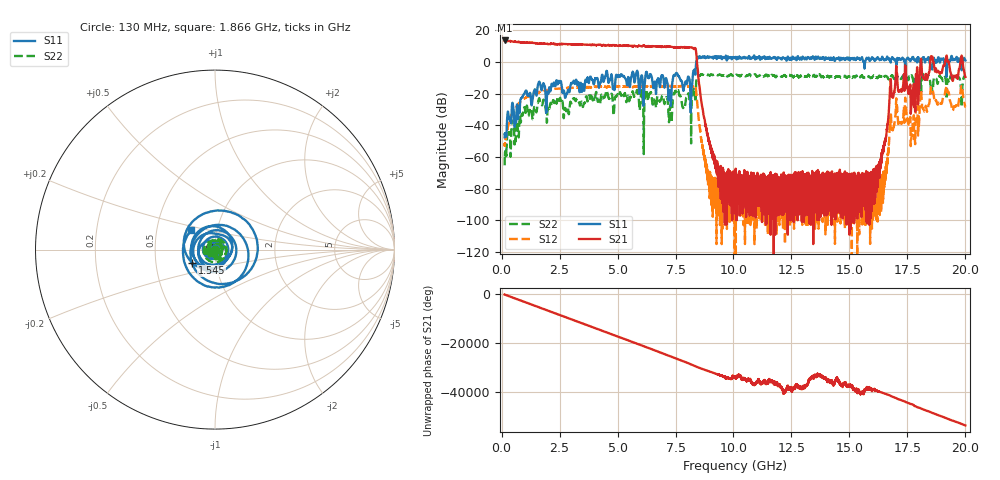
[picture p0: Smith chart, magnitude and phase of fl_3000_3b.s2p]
!Created with skrf (http://scikit-rf.org).
# GHz S RI R 50.0
!freq ReS11 ImS11 ReS21 ImS21 ReS12 ImS12 ReS22 ImS22
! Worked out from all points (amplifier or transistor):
!   20013 points, 130 MHz to 20 GHz, reference 50 ohm
!   highest |S21| = 13.6 dB at 134 MHz (marker M1)
!   |S21| within 3 dB of that: start of sweep to 4.079 GHz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
!   unconditionally stable (mu >= 1): start of sweep to 4.535 GHz; 4.542 GHz to 8.375 GHz; 18.46 GHz to 18.59 GHz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
!   at 3.465 GHz: K = 1.14, MAG = 11.2 dB, |S12| = -15.8 dB
!   at 10.14 GHz: K = -44270282.45, MSG = 9.5 dB, |S12| = -92.7 dB
!   at 20 GHz: K = -8.32, MSG = 9.5 dB, |S12| = -28.4 dB
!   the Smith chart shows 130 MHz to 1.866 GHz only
!   S11 on the Smith chart (normalised r, x): 130 MHz: 1.00, +0.01; 1.545 GHz: 0.77, -0.12; 1.866 GHz: 0.75, +0.17
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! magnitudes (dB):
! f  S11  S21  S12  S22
! 130 MHz  -47.5  13.6  -53.4  -65.3
! 134 MHz  -46.3  13.6  -52.8  -61.7
! 611 MHz  -37.7  12.8  -28.7  -47.6
! 1.545 GHz  -16.7  11.6  -19.3  -27.2
! 1.866 GHz  -15.4  11.6  -18.1  -27.0
! 3.442 GHz  -16.1  11.1  -15.9  -25.0
! 6.754 GHz  -10.2  9.7  -15.2  -22.8
! 7.273 GHz  -20.5  9.7  -15.2  -27.4
! 7.509 GHz  -7.5  9.2  -15.6  -18.4
! 8.304 GHz  -4.9  8.4  -16.1  -16.2
! 9.002 GHz  3.0  -53.3  -72.1  -8.4
! 9.556 GHz  3.1  -69.4  -76.6  -8.6
! 10.06 GHz  2.4  -77.5  -84.9  -8.8
! 13.38 GHz  2.2  -81.4  -92.9  -8.9
! 16 GHz  2.6  -72.1  -99.9  -9.4
! 16.45 GHz  2.0  -56.4  -80.9  -10.4
! 16.69 GHz  1.8  -33.2  -53.6  -10.8
! 17 GHz  1.4  -9.7  -30.8  -10.1
! 17.42 GHz  -0.2  -3.6  -24.2  -10.6
! 17.74 GHz  3.2  -18.2  -38.3  -11.2
! 18.56 GHz  -3.9  3.1  -16.5  -16.5
! 20 GHz  1.0  -9.3  -28.4  -9.0
